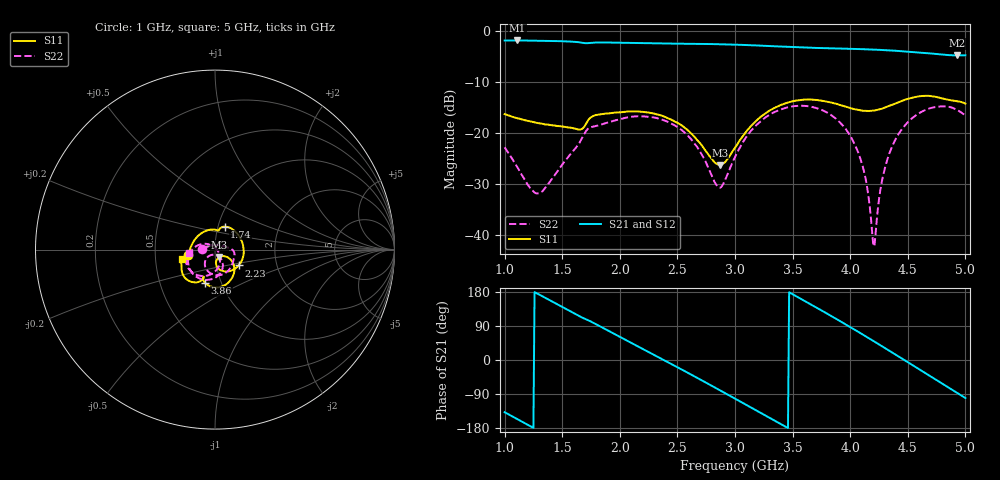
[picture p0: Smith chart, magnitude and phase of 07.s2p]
!Agilent Technologies,N5224A,MY51441093,A.09.90.21
!Agilent N5224A: A.09.90.21
!Date: Wednesday, October 01, 2025 16:37:49
!Correction: S11(Full 2 Port(1,2))
!S21(Full 2 Port(1,2))
!S12(Full 2 Port(1,2))
!S22(Full 2 Port(1,2))
!S2P File: Measurements: S11, S21, S12, S22:
# Hz S  dB  R 50
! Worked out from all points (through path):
!   401 points, 1 GHz to 5 GHz, reference 50 ohm
!   highest |S21| = -1.93 dB at 1.11 GHz (marker M1); lowest = -4.8 dB at 4.93 GHz (marker M2)
!   lowest |S11| = -26.3 dB at 2.87 GHz (marker M3), VSWR 1.10, Z = 52.3 - j4.36 ohm
!   |S11| at or under -10 dB: start of sweep to end of sweep
!   |S22| runs from -42.3 to -14.7 dB; largest |S21 - S12| = 0.0036
!   S11 on the Smith chart (normalised r, x): 1 GHz: 0.74, -0.05; 1.74 GHz: 1.07, +0.28; 2.23 GHz: 1.28, -0.23; 3.86 GHz: 0.84, -0.32; 5 GHz: 0.68, -0.08
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1e9  -16.37 -168.7  -1.93 -137.7  -1.91 -137.8  -22.87 178.6
1.11e9  -17.17 178.3  -1.93 -156.0  -1.92 -156.1  -26.76 160.2
1.31e9  -18.18 146.6  -1.98 171.1  -1.98 171.0  -31.80 83.9
1.67e9  -19.29 79.4  -2.37 112.4  -2.36 112.4  -21.16 3.6
1.74e9  -17.17 67.5  -2.42 102.8  -2.41 102.8  -19.00 -14.3
1.96e9  -16.08 13.5  -2.35 67.5  -2.34 67.4  -17.60 -47.8
2.23e9  -16.01 -34.0  -2.48 24.3  -2.47 24.3  -16.84 -83.3
2.34e9  -16.50 -50.5  -2.52 6.7  -2.51 6.7  -17.26 -97.7
2.58e9  -19.37 -79.5  -2.57 -32.1  -2.56 -32.0  -20.36 -126.2
2.87e9  -26.32 -59.3  -2.67 -80.0  -2.64 -80.0  -30.81 -95.5
3e9  -22.99 -32.9  -2.74 -101.9  -2.72 -101.9  -24.78 -57.1
3.35e9  -15.08 -55.0  -3.07 -161.0  -3.05 -161.0  -15.89 -92.2
3.67e9  -13.53 -90.2  -3.37 144.7  -3.35 144.6  -14.97 -140.7
3.86e9  -14.26 -106.5  -3.48 111.8  -3.47 111.7  -16.99 -171.6
4.09e9  -15.65 -113.5  -3.62 70.7  -3.60 70.5  -25.23 144.9
4.14e9  -15.73 -112.9  -3.66 61.5  -3.63 61.3  -29.80 131.1
4.2e9  -15.69 -112.2  -3.71 50.5  -3.69 50.3  -42.01 64.6
4.28e9  -15.26 -111.7  -3.80 35.6  -3.77 35.4  -29.01 -46.4
4.34e9  -14.77 -112.8  -3.87 24.4  -3.84 24.2  -24.08 -62.5
4.59e9  -12.90 -129.2  -4.27 -22.9  -4.25 -23.1  -16.30 -108.0
4.93e9  -13.83 -157.7  -4.85 -86.8  -4.83 -87.0  -15.59 -164.1
5e9  -14.30 -163.7  -4.83 -100.4  -4.82 -100.6  -16.62 -173.1
